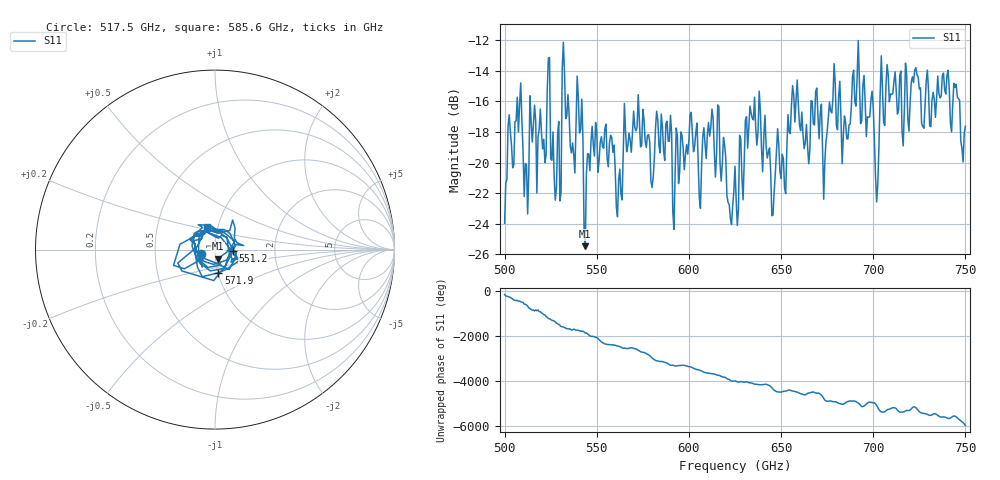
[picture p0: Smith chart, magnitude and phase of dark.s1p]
!Created with skrf (http://scikit-rf.org).
# GHz S MA R 50.0
!freq magS11 angS11
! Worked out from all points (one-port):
!   401 points, 500 GHz to 750 GHz, reference 50 ohm
!   lowest |S11| = -25.5 dB at 543.8 GHz (marker M1), VSWR 1.11, Z = 51.5 - j5.21 ohm
!   |S11| at or under -10 dB: start of sweep to end of sweep
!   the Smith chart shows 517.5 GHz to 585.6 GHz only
!   S11 on the Smith chart (normalised r, x): 517.5 GHz: 0.86, -0.04; 551.2 GHz: 1.23, -0.01; 571.9 GHz: 1.00, -0.26; 585.6 GHz: 0.89, +0.22
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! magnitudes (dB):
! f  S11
! 500 GHz  -24.0
! 507.5 GHz  -18.0
! 511.9 GHz  -20.2
! 517.5 GHz  -22.0
! 524.4 GHz  -13.1
! 528.8 GHz  -18.2
! 531.2 GHz  -13.9
! 536.9 GHz  -18.7
! 540.6 GHz  -18.1
! 543.8 GHz  -25.5
! 551.2 GHz  -19.9
! 562.5 GHz  -20.4
! 571.9 GHz  -17.7
! 585.6 GHz  -17.7
! 593.8 GHz  -18.3
! 611.9 GHz  -17.7
! 625 GHz  -20.2
! 634.4 GHz  -17.1
! 645.6 GHz  -23.4
! 656.2 GHz  -15.0
! 673.8 GHz  -19.9
! 678.1 GHz  -15.8
! 687.5 GHz  -17.5
! 698.8 GHz  -15.9
! 701.9 GHz  -22.6
! 705 GHz  -15.1
! 718.8 GHz  -17.1
! 750 GHz  -17.6
